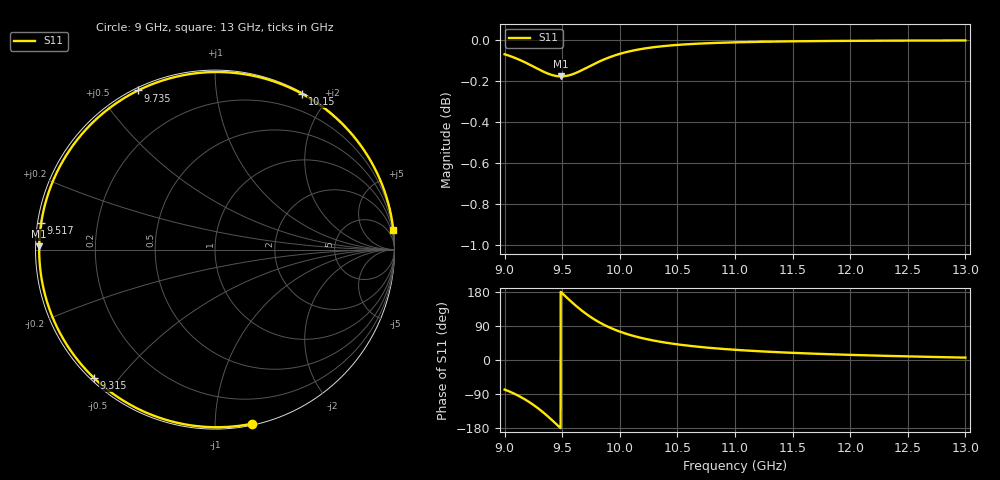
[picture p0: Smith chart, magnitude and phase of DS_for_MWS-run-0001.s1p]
! TOUCHSTONE file generated by CST DESIGN STUDIO
! Date and time: Tue Feb  4 15:55:04 2025
! Project name: C:\Work\MatlabApps\UnitCellOptimizationMatlab\CST\unitcell.cst
! Tree item: Tasks\Sweep1\SPara1\S-Parameters
! Header version: 2024
! Port assignment regex: !\s*Touchstone port\s*([0-9]+)\s*=\s*(CST MWS port|CST DES external port|CST DES block port)\s*(.+)\s* \(\"(.*)\"\)(\s*mode\s*([0-9]+))?.*
! Touchstone port assignment:
! Touchstone port 1 = CST DES external port 1 ("")
# GHz S MA R 50
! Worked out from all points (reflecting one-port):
!   4001 points, 9 GHz to 13 GHz, reference 50 ohm
!   lowest |S11| = -0.2 dB at 9.49 GHz (marker M1), VSWR 97.00, Z = 0.515 + j0.447 ohm
!   phase of S11 starts at -78 deg and turns -276 deg over the sweep
!   S11 on the Smith chart (normalised r, x): 9 GHz: 0.01, -1.23; 9.315 GHz: 0.01, -0.43; 9.517 GHz: 0.01, +0.08; 9.735 GHz: 0.01, +0.63; 10.15 GHz: 0.01, +1.70; 13 GHz: 0, +18
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9  0.9918 -78.0
9.08  0.99 -88.4
9.18  0.9872 -104.6
9.25  0.985 -118.4
9.315  0.9829 -133.3
9.361  0.9815 -145.0
9.41  0.9804 -158.2
9.451  0.9798 -169.8
9.49  0.9796 179.0
9.5  0.9796 176.1
9.517  0.9797 171.2
9.57  0.9804 156.3
9.63  0.9818 140.3
9.682  0.9833 127.5
9.735  0.9851 115.8
9.789  0.9868 105.2
9.849  0.9885 95.0
9.924  0.9904 84.1
10  0.992 74.9
10.152  0.9943 60.8
10.31  0.9959 50.3
10.5  0.997 41.3
10.722  0.9978 33.7
11  0.9984 26.9
11.5  0.999 18.9
12  0.9993 13.5
12.5  0.9994 9.5
13  0.9995 6.3
